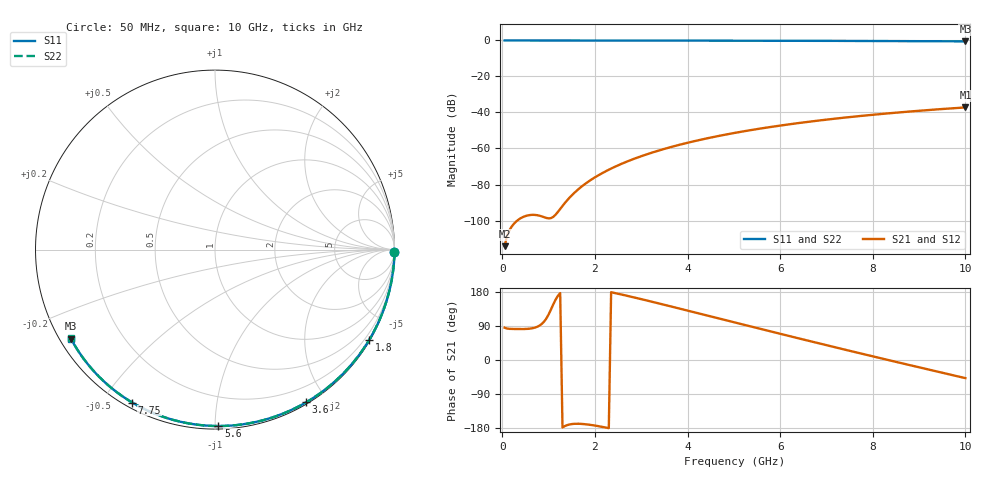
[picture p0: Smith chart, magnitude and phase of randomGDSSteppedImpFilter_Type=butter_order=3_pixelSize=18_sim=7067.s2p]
! freq	dB(S11)	phase(S11)	dB(S12)	phase(S12)
!  dB(S21)	phase(S21)	dB(S22)	phase(S22)
!S-par simulation data
#  GHz  S  DB  R 50
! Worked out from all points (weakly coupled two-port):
!   200 points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, 50 MHz to 10 GHz, reference 50 ohm
!   highest |S21| = -37.19 dB at 10 GHz (marker M1); lowest = -114.2 dB at 50 MHz (marker M2)
!   lowest |S11| = -0.5 dB at 10 GHz (marker M3), VSWR 34.54, Z = 1.56 - j14.2 ohm
!   |S11| at or under -10 dB: nowhere
!   |S22| runs from -0.5 to 0.0 dB; largest |S21 - S12| = 0
!   S11 on the Smith chart (normalised r, x): 50 MHz: open; 1.8 GHz: 0.03, -3.69; 3.6 GHz: 0.02, -1.76; 5.6 GHz: 0.02, -1.02; 7.75 GHz: 0.02, -0.60; 10 GHz: 0.03, -0.28
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0.05  -0.00 -0.9  -114.24 85.4  -114.24 85.4  -0.00 -0.9
0.45  -0.01 -7.7  -98.02 81.7  -98.02 81.7  -0.01 -7.7
0.9  -0.02 -15.3  -98.12 100.9  -98.12 100.9  -0.02 -15.3
1.75  -0.04 -29.5  -80.40 -169.0  -80.40 -169.0  -0.04 -29.5
1.8  -0.04 -30.3  -79.44 -169.6  -79.44 -169.6  -0.04 -30.3
1.95  -0.04 -32.8  -76.82 -172.0  -76.82 -172.0  -0.04 -32.8
2.1  -0.04 -35.2  -74.51 -175.1  -74.51 -175.1  -0.04 -35.2
2.3  -0.05 -38.5  -71.77 -179.9  -71.77 -179.9  -0.05 -38.5
2.5  -0.05 -41.7  -69.35 174.9  -69.35 174.9  -0.05 -41.7
2.9  -0.06 -48.2  -65.20 163.6  -65.20 163.6  -0.06 -48.2
3.4  -0.07 -56.0  -60.96 148.7  -60.96 148.7  -0.07 -56.0
3.6  -0.08 -59.1  -59.48 142.7  -59.48 142.7  -0.08 -59.1
4.3  -0.10 -69.8  -55.03 121.2  -55.03 121.2  -0.10 -69.8
5.05  -0.12 -80.9  -51.19 98.2  -51.19 98.2  -0.12 -80.9
5.6  -0.15 -88.9  -48.81 81.4  -48.81 81.4  -0.15 -88.9
6.15  -0.17 -96.6  -46.73 64.6  -46.73 64.6  -0.17 -96.6
6.7  -0.20 -104.2  -44.89 48.1  -44.89 48.1  -0.20 -104.2
7.2  -0.24 -111.0  -43.38 33.2  -43.38 33.2  -0.24 -111.1
7.75  -0.28 -118.4  -41.90 16.9  -41.90 16.9  -0.28 -118.4
8.35  -0.33 -126.4  -40.45 -0.6  -40.45 -0.6  -0.33 -126.4
9.2  -0.41 -137.7  -38.64 -25.1  -38.64 -25.1  -0.41 -137.7
10  -0.50 -148.3  -37.19 -47.8  -37.19 -47.8  -0.50 -148.4
